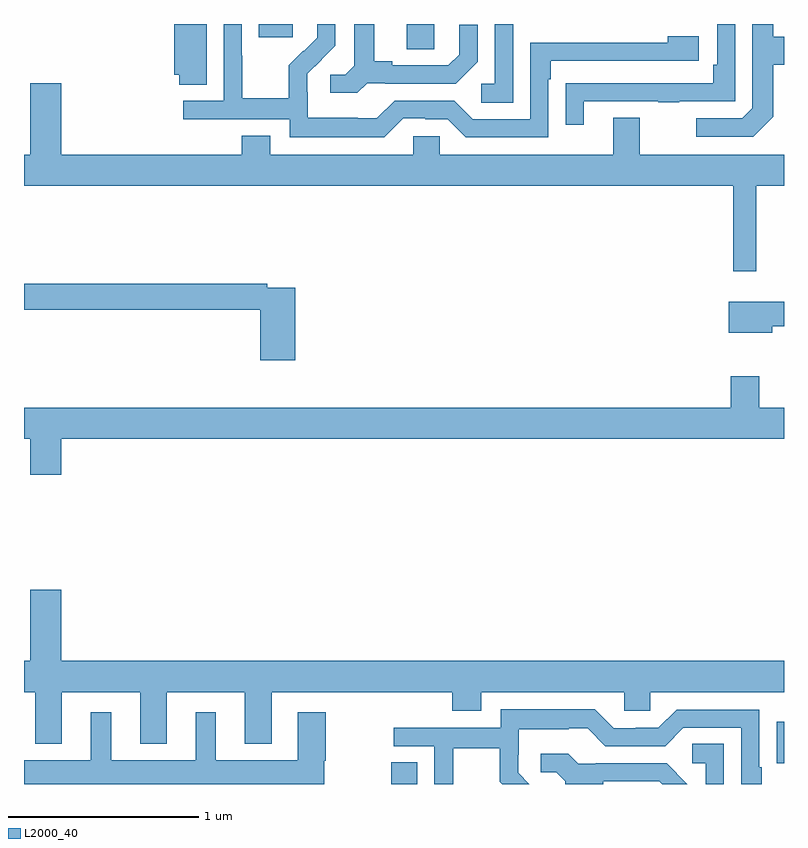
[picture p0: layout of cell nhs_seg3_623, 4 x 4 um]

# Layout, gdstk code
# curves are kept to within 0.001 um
import gdstk
lib = gdstk.Library(unit=1e-6, precision=1e-09)
def R(c, l, rs):  # rectangles x0, y0, x1, y1
    for r in rs: c.add(gdstk.rectangle(r[:2], r[2:], *l))
def P(c, l, *ps):  # polygons
    for p in ps: c.add(gdstk.Polygon(p, *l))
L2000_40 = (2000, 40)

nhs_seg3_623 = lib.new_cell('nhs_seg3_623')
R(nhs_seg3_623, L2000_40, [(142.933,732.4,143.071,732.515), (144.961,732.508,145,732.727), (143.015,736.267,143.16,736.4), (142.235,736.329,142.414,736.4)])
P(nhs_seg3_623, L2000_40, [(144.943,735.913),(144.943,736.186),(145,736.186),(145,736.333),(144.943,736.333),(144.943,736.4),(144.834,736.4),(144.834,735.957),(144.78,735.903),(144.537,735.903),(144.537,735.807),(144.837,735.807)],
  [(143.947,735.993),(144.337,735.993),(144.337,735.988),(144.449,735.988),(144.449,735.993),(144.744,735.993),(144.744,736.4),(144.648,736.4),(144.648,736.186),(144.628,736.186),(144.628,736.089),(143.953,736.089),(143.953,736.088),(143.851,736.088),(143.851,735.87),(143.947,735.87)],
  [(143.574,736.4),(143.478,736.4),(143.478,736.086),(143.406,736.086),(143.406,735.985),(143.574,735.985)],
  [(142.806,736.089),(142.9,736.089),(142.9,736.086),(143.272,736.086),(143.388,736.202),(143.388,736.396),(143.291,736.396),(143.291,736.239),(143.234,736.182),(142.939,736.182),(142.939,736.205),(142.843,736.205),(142.843,736.4),(142.739,736.4),(142.739,736.181),(142.692,736.134),(142.611,736.134),(142.611,736.037),(142.754,736.037)],
  [(141.961,736.4),(141.791,736.4),(141.791,736.134),(141.818,736.134),(141.818,736.081),(141.961,736.081)],
  [(142.995,735.903),(143.111,735.903),(143.111,735.9),(143.229,735.9),(143.325,735.804),(143.76,735.804),(143.76,736.109),(143.773,736.109),(143.773,736.206),(144.55,736.206),(144.55,736.336),(144.389,736.336),(144.389,736.302),(143.664,736.302),(143.664,735.9),(143.361,735.9),(143.265,735.996),(142.95,735.996),(142.857,735.903),(142.757,735.903),(142.757,735.907),(142.494,735.907),(142.494,736.041),(142.492,736.041),(142.492,736.138),(142.638,736.286),(142.638,736.4),(142.544,736.4),(142.544,736.328),(142.473,736.257),(142.47,736.26),(142.393,736.183),(142.393,736.009),(142.149,736.009),(142.149,736.232),(142.146,736.232),(142.146,736.4),(142.05,736.4),(142.05,735.996),(141.837,735.996),(141.837,735.9),(142.398,735.9),(142.398,735.803),(142.895,735.803)],
  [(144.853,735.548),(145,735.548),(145,735.712),(144.241,735.712),(144.241,735.907),(144.101,735.907),(144.101,735.712),(143.187,735.712),(143.187,735.81),(143.049,735.81),(143.049,735.712),(142.297,735.712),(142.297,735.811),(142.145,735.811),(142.145,735.712),(141.196,735.712),(141.196,736.087),(141.032,736.087),(141.032,735.712),(141,735.712),(141,735.548),(144.732,735.548),(144.732,735.099),(144.853,735.099)],
  [(142.427,735.012),(142.28,735.012),(142.28,735.032),(141,735.032),(141,734.896),(142.244,734.896),(142.244,734.631),(142.427,734.631)],
  [(144.937,734.81),(145,734.81),(145,734.938),(144.708,734.938),(144.708,734.774),(144.937,734.774)],
  [(141.196,734.216),(145,734.216),(145,734.38),(144.871,734.38),(144.871,734.545),(144.719,734.545),(144.719,734.38),(141,734.38),(141,734.216),(141.032,734.216),(141.032,734.028),(141.196,734.028)],
  [(141.196,733.423),(141.032,733.423),(141.032,733.048),(141,733.048),(141,732.884),(141.059,732.884),(141.059,732.611),(141.199,732.611),(141.199,732.884),(141.611,732.884),(141.611,732.611),(141.751,732.611),(141.751,732.884),(142.163,732.884),(142.163,732.611),(142.303,732.611),(142.303,732.884),(143.255,732.884),(143.255,732.785),(143.407,732.785),(143.407,732.884),(144.159,732.884),(144.159,732.786),(144.297,732.786),(144.297,732.884),(145,732.884),(145,733.048),(141.196,733.048)],
  [(143.259,732.588),(143.503,732.588),(143.503,732.413),(143.516,732.4),(143.66,732.4),(143.602,732.458),(143.602,732.555),(143.604,732.555),(143.604,732.689),(143.867,732.689),(143.867,732.693),(143.967,732.693),(144.06,732.6),(144.375,732.6),(144.471,732.696),(144.774,732.696),(144.774,732.4),(144.883,732.4),(144.883,732.487),(144.87,732.487),(144.87,732.792),(144.435,732.792),(144.339,732.696),(144.221,732.696),(144.221,732.693),(144.105,732.693),(144.005,732.793),(143.508,732.793),(143.508,732.696),(142.947,732.696),(142.947,732.6),(143.16,732.6),(143.16,732.4),(143.259,732.4)],
  [(142.579,732.522),(142.587,732.522),(142.587,732.778),(142.442,732.778),(142.442,732.526),(142.009,732.526),(142.009,732.778),(141.905,732.778),(141.905,732.526),(141.46,732.526),(141.46,732.778),(141.35,732.778),(141.35,732.526),(141,732.526),(141,732.4),(142.579,732.4)],
  [(144.684,732.611),(144.516,732.611),(144.516,732.51),(144.588,732.51),(144.588,732.4),(144.684,732.4)],
  [(144.049,732.414),(144.344,732.414),(144.358,732.4),(144.492,732.4),(144.382,732.51),(144.01,732.51),(144.01,732.507),(143.916,732.507),(143.864,732.559),(143.721,732.559),(143.721,732.462),(143.802,732.462),(143.849,732.415),(143.849,732.4),(144.049,732.4)])

lib.write_gds('nhs_seg3_623.gds')
